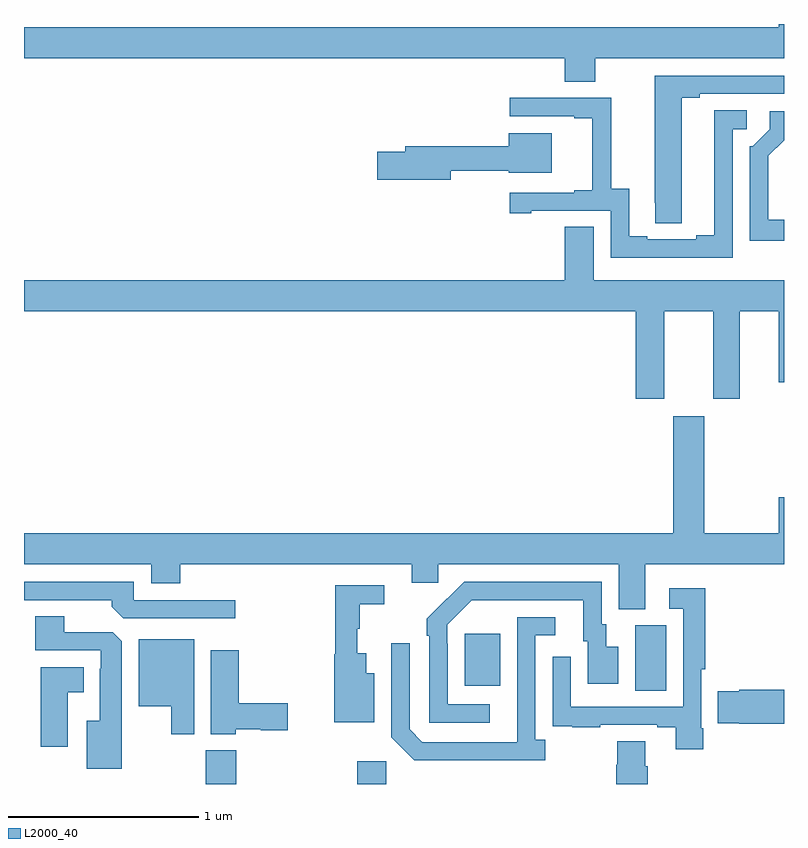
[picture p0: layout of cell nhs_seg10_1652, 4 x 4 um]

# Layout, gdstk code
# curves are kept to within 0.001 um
import gdstk
lib = gdstk.Library(unit=1e-6, precision=1e-09)
def R(c, l, rs):  # rectangles x0, y0, x1, y1
    for r in rs: c.add(gdstk.rectangle(r[:2], r[2:], *l))
def P(c, l, *ps):  # polygons
    for p in ps: c.add(gdstk.Polygon(p, *l))
L2000_40 = (2000, 40)

nhs_seg10_1652 = lib.new_cell('nhs_seg10_1652')
R(nhs_seg10_1652, L2000_40, [(197.956,1292.5,198.116,1292.677), (198.755,1292.5,198.906,1292.62), (200.216,1292.992,200.38,1293.336), (199.319,1293.017,199.507,1293.292)])
P(nhs_seg10_1652, L2000_40, [(200.007,1296.32),(201,1296.32),(201,1296.5),(200.972,1296.5),(200.972,1296.484),(197,1296.484),(197,1296.32),(199.847,1296.32),(199.847,1296.196),(200.007,1296.196)],
  [(200.461,1296.112),(200.557,1296.112),(200.557,1296.132),(201,1296.132),(201,1296.228),(200.321,1296.228),(200.321,1295.56),(200.322,1295.56),(200.322,1295.452),(200.461,1295.452)],
  [(200.73,1295.946),(200.803,1295.946),(200.803,1296.047),(200.633,1296.047),(200.633,1295.387),(200.537,1295.387),(200.537,1295.367),(200.281,1295.367),(200.281,1295.382),(200.185,1295.382),(200.185,1295.633),(200.091,1295.633),(200.091,1296.111),(199.557,1296.111),(199.557,1296.015),(199.895,1296.015),(199.895,1296.003),(199.991,1296.003),(199.991,1295.626),(199.895,1295.626),(199.895,1295.613),(199.557,1295.613),(199.557,1295.505),(199.669,1295.505),(199.669,1295.517),(200.088,1295.517),(200.088,1295.271),(200.73,1295.271)],
  [(201,1295.47),(200.917,1295.47),(200.917,1295.806),(201,1295.889),(201,1296.042),(200.925,1296.042),(200.925,1295.946),(200.835,1295.856),(200.82,1295.856),(200.82,1295.36),(201,1295.36)],
  [(199.246,1295.728),(199.55,1295.728),(199.55,1295.717),(199.777,1295.717),(199.777,1295.926),(199.55,1295.926),(199.55,1295.857),(199.007,1295.857),(199.007,1295.828),(198.858,1295.828),(198.858,1295.681),(199.246,1295.681)],
  [(200.371,1294.988),(200.627,1294.988),(200.627,1294.527),(200.767,1294.527),(200.767,1294.988),(200.972,1294.988),(200.972,1294.614),(201,1294.614),(201,1295.152),(199.999,1295.152),(199.999,1295.432),(199.847,1295.432),(199.847,1295.152),(197,1295.152),(197,1294.988),(200.219,1294.988),(200.219,1294.527),(200.371,1294.527)],
  [(200.269,1293.656),(201,1293.656),(201,1294.009),(200.972,1294.009),(200.972,1293.82),(200.581,1293.82),(200.581,1294.435),(200.417,1294.435),(200.417,1293.82),(197,1293.82),(197,1293.656),(197.669,1293.656),(197.669,1293.557),(197.822,1293.557),(197.822,1293.656),(199.04,1293.656),(199.04,1293.558),(199.179,1293.558),(199.179,1293.656),(200.129,1293.656),(200.129,1293.421),(200.269,1293.421)],
  [(199.45,1292.919),(199.23,1292.919),(199.23,1293.239),(199.227,1293.239),(199.227,1293.339),(199.356,1293.468),(199.943,1293.468),(199.943,1293.252),(199.967,1293.252),(199.967,1293.027),(200.128,1293.027),(200.128,1293.223),(200.065,1293.223),(200.065,1293.342),(200.04,1293.342),(200.04,1293.564),(199.316,1293.564),(199.119,1293.369),(199.119,1293.281),(199.134,1293.281),(199.134,1292.823),(199.45,1292.823)],
  [(198.112,1293.468),(197.577,1293.468),(197.577,1293.564),(197,1293.564),(197,1293.468),(197.462,1293.468),(197.462,1293.434),(197.523,1293.372),(198.112,1293.372)],
  [(198.844,1293.082),(198.802,1293.082),(198.802,1293.187),(198.755,1293.187),(198.755,1293.318),(198.766,1293.318),(198.766,1293.445),(198.895,1293.445),(198.895,1293.546),(198.637,1293.546),(198.637,1293.183),(198.632,1293.183),(198.632,1292.825),(198.844,1292.825)],
  [(200.575,1292.794),(200.565,1292.794),(200.565,1293.105),(200.585,1293.105),(200.585,1293.529),(200.397,1293.529),(200.397,1293.423),(200.469,1293.423),(200.469,1292.907),(199.878,1292.907),(199.878,1293.169),(199.782,1293.169),(199.782,1292.914),(199.783,1292.914),(199.783,1292.805),(199.885,1292.805),(199.885,1292.799),(200.033,1292.799),(200.033,1292.811),(200.333,1292.811),(200.333,1292.799),(200.429,1292.799),(200.429,1292.682),(200.575,1292.682)],
  [(197.515,1293.251),(197.466,1293.3),(197.212,1293.3),(197.212,1293.383),(197.06,1293.383),(197.06,1293.204),(197.403,1293.204),(197.403,1293.107),(197.399,1293.107),(197.399,1292.833),(197.33,1292.833),(197.33,1292.579),(197.515,1292.579)],
  [(199.744,1292.734),(199.692,1292.734),(199.692,1293.282),(199.795,1293.282),(199.795,1293.378),(199.596,1293.378),(199.595,1292.721),(199.095,1292.721),(199.029,1292.787),(199.029,1293.241),(198.933,1293.241),(198.933,1292.745),(199.054,1292.624),(199.744,1292.624)],
  [(197.896,1293.262),(197.603,1293.262),(197.603,1292.909),(197.774,1292.909),(197.774,1292.763),(197.896,1292.763)],
  [(198.114,1292.789),(198.245,1292.789),(198.245,1292.782),(198.388,1292.782),(198.388,1292.924),(198.131,1292.924),(198.131,1293.205),(197.984,1293.205),(197.984,1292.762),(198.114,1292.762)],
  [(197.23,1292.984),(197.314,1292.984),(197.314,1293.115),(197.087,1293.115),(197.087,1292.697),(197.23,1292.697)],
  [(201,1292.996),(200.764,1292.996),(200.764,1292.987),(200.652,1292.987),(200.652,1292.82),(200.764,1292.82),(200.764,1292.818),(201,1292.818)],
  [(200.282,1292.594),(200.269,1292.594),(200.269,1292.726),(200.122,1292.726),(200.122,1292.601),(200.117,1292.601),(200.117,1292.5),(200.282,1292.5)])

lib.write_gds('nhs_seg10_1652.gds')
